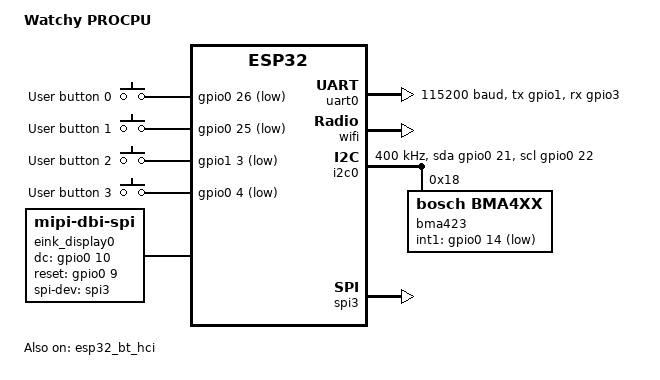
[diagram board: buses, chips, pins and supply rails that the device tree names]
/dts-v1/;

#include <espressif/esp32/esp32_pico_d4.dtsi>
#include "watchy-pinctrl.dtsi"
#include <zephyr/dt-bindings/input/input-event-codes.h>
#include <zephyr/dt-bindings/regulator/axp192.h>
#include <zephyr/dt-bindings/mipi_dbi/mipi_dbi.h>
#include <espressif/partitions_0x1000_amp.dtsi>


// Schematic: https://github.com/sqfmi/watchy-hardware/blob/v2.0/WatchySchematic.pdf
/ {
	model = "Watchy PROCPU";
	compatible = "sqfmi,watchy";

	aliases {
		sw0 = &user_button_0;
		sw1 = &user_button_1;
		sw2 = &user_button_2;
		sw3 = &user_button_3;
		uart-0 = &uart0;
		watchdog0 = &wdt0;
		accel0 = &bma423;
	};

	chosen {
		zephyr,sram = &sram1;
		zephyr,console = &uart0;
		zephyr,shell-uart = &uart0;
		zephyr,flash = &flash0;
		zephyr,code-partition = &slot0_partition;
		zephyr,bt-hci = &esp32_bt_hci;
		zephyr,display= &ssd16xx_waveshare_epaper_gdeh0154a07;
	};

	gpio_keys: gpio_keys {
		compatible = "gpio-keys";

		user_button_0: button_0 {
			label = "User button 0";
			gpios = <&gpio0 26 GPIO_ACTIVE_LOW>;
			zephyr,code = <INPUT_KEY_0>;
		};

		user_button_1: button_1 {
			label = "User button 1";
			gpios = <&gpio0 25 GPIO_ACTIVE_LOW>;
			zephyr,code = <INPUT_KEY_1>;
		};

		user_button_2: button_2 {
			label = "User button 2";
			gpios = <&gpio1 3 GPIO_ACTIVE_LOW>;
			zephyr,code = <INPUT_KEY_2>;
		};

		user_button_3: button_3 {
			label = "User button 3";
			gpios = <&gpio0 4 GPIO_ACTIVE_LOW>;
			zephyr,code = <INPUT_KEY_3>;
		};
	};



	eink_display0: eink_display{
		compatible = "zephyr,mipi-dbi-spi";
		spi-dev = <&spi3>;
		dc-gpios = <&gpio0 10 GPIO_ACTIVE_HIGH>;
		reset-gpios = <&gpio0 9 GPIO_ACTIVE_HIGH>;
		#address-cells = <1>;
		#size-cells = <0>;
		status = "okay";

		ssd16xx_waveshare_epaper_gdeh0154a07: ssd16xxfb@0 {
			compatible = "gooddisplay,gdeh0154a07", "solomon,ssd1681";
			mipi-max-frequency = <4000000>;
			reg = <0>;
			width = <200>;
			height = <200>;
			busy-gpios = <&gpio0 19 GPIO_ACTIVE_HIGH>;
			status = "okay";

			tssv = <0x80>;

			full {
				border-waveform = <0x05>;
			};

			partial {
				border-waveform = <0x3c>;
			};
		};
	};
#if 0
	lvgl_button_input {
		compatible = "zephyr,lvgl-button-input";
		input = <&gpio_keys>;
		input-codes = <INPUT_KEY_0>;
		coordinates = <160 120>;
	};
#endif

};

&uart0 {
	status = "okay";
	current-speed = <115200>;
	pinctrl-0 = <&uart0_tx_gpio1 &uart0_rx_gpio3>;
	pinctrl-names = "default";
};

&gpio0 {
	status = "okay";
};

&gpio1 {
	status = "okay";
};

&wifi {
	status = "okay";
};

&esp32_bt_hci {
	status = "okay";
};

&i2c0 {
	status = "okay";
	clock-frequency = <I2C_BITRATE_FAST>;
	sda-gpios = <&gpio0 21 GPIO_OPEN_DRAIN>;
	scl-gpios = <&gpio0 22 GPIO_OPEN_DRAIN>;
	pinctrl-0 = <&i2c0_default>;
	scl-timeout-us = <0>;
	pinctrl-names = "default";

	bma423: bma423@18 {
		compatible = "bosch,bma4xx";
		reg = <0x18>;
		status = "okay";
		int1-gpios = <&gpio0 14 GPIO_ACTIVE_LOW>;
	};
};

// ePD SPI3
&spi3 {
	#address-cells = <1>;
	#size-cells = <0>;
	status = "okay";
	pinctrl-0 = <&spim3_eink>;
	pinctrl-names = "default";
};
